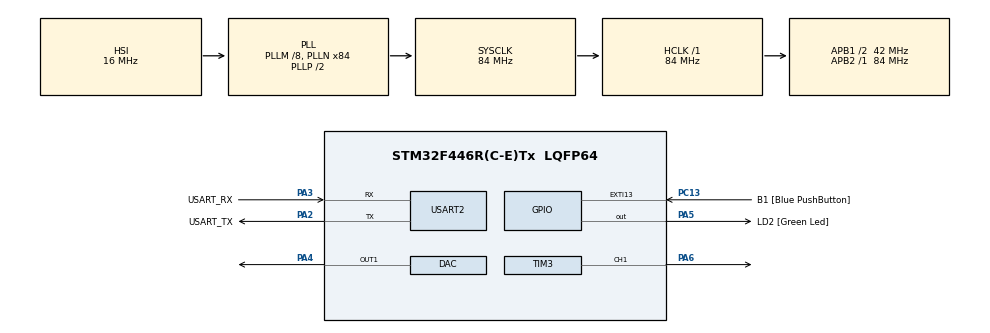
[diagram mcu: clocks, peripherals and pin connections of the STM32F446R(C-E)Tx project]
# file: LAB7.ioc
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DAC.DAC_Trigger=DAC_TRIGGER_T6_TRGO
Dma.DAC1.0.Direction=DMA_MEMORY_TO_PERIPH
Dma.DAC1.0.FIFOMode=DMA_FIFOMODE_DISABLE
Dma.DAC1.0.Instance=DMA1_Stream5
Dma.DAC1.0.MemDataAlignment=DMA_MDATAALIGN_HALFWORD
Dma.DAC1.0.MemInc=DMA_MINC_ENABLE
Dma.DAC1.0.Mode=DMA_CIRCULAR
Dma.DAC1.0.PeriphDataAlignment=DMA_PDATAALIGN_HALFWORD
Dma.DAC1.0.PeriphInc=DMA_PINC_DISABLE
Dma.DAC1.0.Priority=DMA_PRIORITY_LOW
Dma.Request0=DAC1
Mcu.Family=STM32F4
Mcu.Name=STM32F446R(C-E)Tx
Mcu.Package=LQFP64
NVIC.DMA1_Stream5_IRQn=true\:0\:0\:false\:false\:true\:false\:true\:true
NVIC.PriorityGroup=NVIC_PRIORITYGROUP_0
NVIC.TIM6_DAC_IRQn=true\:0\:0\:false\:false\:true\:true\:true\:true
NVIC.USART2_IRQn=true\:0\:0\:false\:false\:true\:true\:true\:true
PA13.GPIO_Label=TMS
PA13.Signal=SYS_JTMS-SWDIO
PA14.GPIO_Label=TCK
PA14.Signal=SYS_JTCK-SWCLK
PA2.GPIO_Label=USART_TX
PA2.Mode=Asynchronous
PA2.Signal=USART2_TX
PA3.GPIO_Label=USART_RX
PA3.Mode=Asynchronous
PA3.Signal=USART2_RX
PA4.Signal=COMP_DAC1_group
PA5.GPIO_Label=LD2 [Green Led]
PA5.Signal=GPIO_Output
PA6.Signal=S_TIM3_CH1
PB3.GPIO_Label=SWO
PB3.Signal=SYS_JTDO-SWO
PC13.GPIO_Label=B1 [Blue PushButton]
PC13.GPIO_ModeDefaultEXTI=GPIO_MODE_IT_FALLING
PC13.Signal=GPXTI13
PC14-OSC32_IN.Signal=RCC_OSC32_IN
PC15-OSC32_OUT.Signal=RCC_OSC32_OUT
PH0-OSC_IN.Signal=RCC_OSC_IN
PH1-OSC_OUT.Signal=RCC_OSC_OUT
ProjectManager.HeapSize=0x200
ProjectManager.StackSize=0x400
ProjectManager.TargetToolchain=STM32CubeIDE
RCC.AHBFreq_Value=84000000
RCC.APB1CLKDivider=RCC_HCLK_DIV2
RCC.APB1Freq_Value=42000000
RCC.APB1TimFreq_Value=84000000
RCC.APB2Freq_Value=84000000
RCC.APB2TimFreq_Value=84000000
RCC.CortexFreq_Value=84000000
RCC.FLatency-AdvancedSettings=FLASH_LATENCY_2
RCC.HCLKFreq_Value=84000000
RCC.HSE_VALUE=8000000
RCC.HSI_VALUE=16000000
RCC.LSE_VALUE=32768
RCC.PLLM=8
RCC.PLLN=84
RCC.SYSCLKFreq_VALUE=84000000
RCC.SYSCLKSource=RCC_SYSCLKSOURCE_PLLCLK
RCC.USBFreq_Value=84000000
RCC.VCOOutputFreq_Value=168000000
SH.COMP_DAC1_group.0=DAC_OUT1,DAC_OUT1
SH.S_TIM3_CH1.0=TIM3_CH1,PWM Generation1 CH1
TIM3.Channel-PWM\ Generation1\ CH1=TIM_CHANNEL_1
TIM3.Period=999
TIM3.Prescaler=83
TIM6.Period=1000-1
TIM6.Prescaler=1
TIM6.TIM_MasterOutputTrigger=TIM_TRGO_UPDATE
USART2.VirtualMode=VM_ASYNC
VP_TIM6_VS_ClockSourceINT.Mode=Enable_Timer
board=NUCLEO-F446RE

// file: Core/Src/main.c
/* USER CODE BEGIN Header */
/**
  ******************************************************************************
  * @file           : main.c
  * @brief          : Main program body
  ******************************************************************************
  * @attention
  *
  * Copyright (c) 2026 STMicroelectronics.
  * All rights reserved.
  *
  * This software is licensed under terms that can be found in the LICENSE file
  * in the root directory of this software component.
  * If no LICENSE file comes with this software, it is provided AS-IS.
  *
  ******************************************************************************
  */
/* USER CODE END Header */
#include "main.h"

/* USER CODE BEGIN Includes */
#include <stdio.h>
#include <string.h>
#include "sine_lut.h"           /* tabla senoidal 128 muestras */
#include "tetris.h"             /* canción para PWM (incluye notas.h) */
#include "seven_nation_army.h"  /* canción para DAC */
/* USER CODE END Includes */

/* USER CODE BEGIN PD */
#define FCLK_DAC    84000000   /* frecuencia del timer en Hz */
#define PSC_DAC     1          /* prescaler del TIM6 */
#define NS_DAC      128        /* muestras por período */
/* USER CODE END PD */

DAC_HandleTypeDef hdac;
DMA_HandleTypeDef hdma_dac1;

TIM_HandleTypeDef htim3;
TIM_HandleTypeDef htim6;

UART_HandleTypeDef huart2;

/* USER CODE BEGIN PV */
volatile uint8_t rxByte = 0;
volatile uint8_t flagComando = 0;
volatile uint8_t comando = 0;
/* USER CODE END PV */

void SystemClock_Config(void);
static void MX_GPIO_Init(void);
static void MX_DMA_Init(void);
static void MX_TIM3_Init(void);
static void MX_USART2_UART_Init(void);
static void MX_DAC_Init(void);
static void MX_TIM6_Init(void);

/* USER CODE BEGIN 0 */

/* ======== MÉTODO 1: PWM (buzzer) ======== */

void tocarNota(uint16_t freq, uint16_t duracion)
{
    if (freq == 0)
    {
        HAL_TIM_PWM_Stop(&htim3, TIM_CHANNEL_1);
    }
    else
    {
        /* Con prescaler=83 → tick = 1 MHz → ARR = 1000000/freq - 1 */
        uint32_t periodo = (1000000 / freq) - 1;
        __HAL_TIM_SET_AUTORELOAD(&htim3, periodo);
        __HAL_TIM_SET_COMPARE(&htim3, TIM_CHANNEL_1, periodo / 2);
        __HAL_TIM_SET_COUNTER(&htim3, 0);
        HAL_TIM_PWM_Start(&htim3, TIM_CHANNEL_1);
    }
    HAL_Delay((uint32_t)(duracion * 0.9));
    HAL_TIM_PWM_Stop(&htim3, TIM_CHANNEL_1);
    HAL_Delay((uint32_t)(duracion * 0.1));
}

void reproducirCancion(const uint16_t* notas, const uint16_t* duraciones, uint16_t cantidad)
{
    for (uint16_t i = 0; i < cantidad; i++)
    {
        tocarNota(notas[i], duraciones[i]);
    }
}

/* ======== MÉTODO 2: DAC + DMA (onda senoidal) ======== */

void tocarNotaDAC(uint16_t freq, uint16_t duracion)
{
    if (freq == 0)
    {
        HAL_DAC_Stop_DMA(&hdac, DAC_CHANNEL_1);
        HAL_TIM_Base_Stop(&htim6);
    }
    else
    {
        /* ARR = FCLK / ((PSC+1) × freq × Ns) - 1 */
        uint32_t arr = (FCLK_DAC / ((PSC_DAC + 1) * (uint32_t)freq * NS_DAC)) - 1;
        __HAL_TIM_SET_AUTORELOAD(&htim6, arr);
        __HAL_TIM_SET_COUNTER(&htim6, 0);
        HAL_TIM_Base_Start(&htim6);
        HAL_DAC_Start_DMA(&hdac, DAC_CHANNEL_1,
                          (uint32_t*)sineLUT, SINE_SAMPLES,
                          DAC_ALIGN_12B_R);
    }
    HAL_Delay((uint32_t)(duracion * 0.9));
    HAL_DAC_Stop_DMA(&hdac, DAC_CHANNEL_1);
    HAL_TIM_Base_Stop(&htim6);
    HAL_Delay((uint32_t)(duracion * 0.1));
}

void reproducirCancionDAC(const uint16_t* notas, const uint16_t* duraciones, uint16_t cantidad)
{
    for (uint16_t i = 0; i < cantidad; i++)
    {
        tocarNotaDAC(notas[i], duraciones[i]);
    }
}

/* ======== Menú UART ======== */

void mostrarMenu(void)
{
    char* menu =
        "\r\n"
        "=============================\r\n"
        "  REPRODUCTOR DE AUDIO\r\n"
        "=============================\r\n"
        "  1. Tetris (PWM - Buzzer)\r\n"
        "  2. Seven Nation Army (DAC)\r\n"
        "=============================\r\n"
        "  Seleccione una opcion: ";
    HAL_UART_Transmit(&huart2, (uint8_t*)menu, strlen(menu), HAL_MAX_DELAY);
}

/* USER CODE END 0 */

int main(void)
{

  /* MCU Configuration--------------------------------------------------------*/

  /* Reset of all peripherals, Initializes the Flash interface and the Systick. */
  HAL_Init();

  /* Configure the system clock */
  SystemClock_Config();

  /* Initialize all configured peripherals */
  MX_GPIO_Init();
  MX_DMA_Init();
  MX_TIM3_Init();
  MX_USART2_UART_Init();
  MX_DAC_Init();
  MX_TIM6_Init();
  /* USER CODE BEGIN 2 */
  HAL_UART_Receive_IT(&huart2, (uint8_t*)&rxByte, 1);
  mostrarMenu();
  /* USER CODE END 2 */

  /* Infinite loop */
  while (1)
  {

    /* USER CODE BEGIN 3 */
	   if (flagComando)
	    {
	        flagComando = 0;
	        char msg[64];

	        switch (comando)
	        {
	            case '1':
	                sprintf(msg, "\r\nReproduciendo: Tetris (PWM)...\r\n");
	                HAL_UART_Transmit(&huart2, (uint8_t*)msg, strlen(msg), HAL_MAX_DELAY);
	                reproducirCancion(tetris_notas, tetris_duraciones, TETRIS_LEN);
	                sprintf(msg, "Listo!\r\n");
	                HAL_UART_Transmit(&huart2, (uint8_t*)msg, strlen(msg), HAL_MAX_DELAY);
	                break;

	            case '2':
	                sprintf(msg, "\r\nReproduciendo: Seven Nation Army (DAC)...\r\n");
	                HAL_UART_Transmit(&huart2, (uint8_t*)msg, strlen(msg), HAL_MAX_DELAY);
	                reproducirCancionDAC(sna_notas, sna_duraciones, SNA_LEN);
	                sprintf(msg, "Listo!\r\n");
	                HAL_UART_Transmit(&huart2, (uint8_t*)msg, strlen(msg), HAL_MAX_DELAY);
	                break;

	            default:
	                sprintf(msg, "\r\nOpcion no valida.\r\n");
	                HAL_UART_Transmit(&huart2, (uint8_t*)msg, strlen(msg), HAL_MAX_DELAY);
	                break;
	        }
	        mostrarMenu();
	    }
  /* USER CODE END 3 */
}
}
void SystemClock_Config(void)
{
  RCC_OscInitTypeDef RCC_OscInitStruct = {0};
  RCC_ClkInitTypeDef RCC_ClkInitStruct = {0};

  /** Configure the main internal regulator output voltage
  */
  __HAL_RCC_PWR_CLK_ENABLE();
  __HAL_PWR_VOLTAGESCALING_CONFIG(PWR_REGULATOR_VOLTAGE_SCALE3);

  /** Initializes the RCC Oscillators according to the specified parameters
  * in the RCC_OscInitTypeDef structure.
  */
  RCC_OscInitStruct.OscillatorType = RCC_OSCILLATORTYPE_HSI;
  RCC_OscInitStruct.HSIState = RCC_HSI_ON;
  RCC_OscInitStruct.HSICalibrationValue = RCC_HSICALIBRATION_DEFAULT;
  RCC_OscInitStruct.PLL.PLLState = RCC_PLL_ON;
  RCC_OscInitStruct.PLL.PLLSource = RCC_PLLSOURCE_HSI;
  RCC_OscInitStruct.PLL.PLLM = 8;
  RCC_OscInitStruct.PLL.PLLN = 84;
  RCC_OscInitStruct.PLL.PLLP = RCC_PLLP_DIV2;
  RCC_OscInitStruct.PLL.PLLQ = 2;
  RCC_OscInitStruct.PLL.PLLR = 2;
  if (HAL_RCC_OscConfig(&RCC_OscInitStruct) != HAL_OK)
  {
    Error_Handler();
  }

  /** Initializes the CPU, AHB and APB buses clocks
  */
  RCC_ClkInitStruct.ClockType = RCC_CLOCKTYPE_HCLK|RCC_CLOCKTYPE_SYSCLK
                              |RCC_CLOCKTYPE_PCLK1|RCC_CLOCKTYPE_PCLK2;
  RCC_ClkInitStruct.SYSCLKSource = RCC_SYSCLKSOURCE_PLLCLK;
  RCC_ClkInitStruct.AHBCLKDivider = RCC_SYSCLK_DIV1;
  RCC_ClkInitStruct.APB1CLKDivider = RCC_HCLK_DIV2;
  RCC_ClkInitStruct.APB2CLKDivider = RCC_HCLK_DIV1;

  if (HAL_RCC_ClockConfig(&RCC_ClkInitStruct, FLASH_LATENCY_2) != HAL_OK)
  {
    Error_Handler();
  }
}

static void MX_DAC_Init(void)
{

  DAC_ChannelConfTypeDef sConfig = {0};

  /** DAC Initialization
  */
  hdac.Instance = DAC;
  if (HAL_DAC_Init(&hdac) != HAL_OK)
  {
    Error_Handler();
  }

  /** DAC channel OUT1 config
  */
  sConfig.DAC_Trigger = DAC_TRIGGER_T6_TRGO;
  sConfig.DAC_OutputBuffer = DAC_OUTPUTBUFFER_ENABLE;
  if (HAL_DAC_ConfigChannel(&hdac, &sConfig, DAC_CHANNEL_1) != HAL_OK)
  {
    Error_Handler();
  }

}

static void MX_TIM3_Init(void)
{

  TIM_MasterConfigTypeDef sMasterConfig = {0};
  TIM_OC_InitTypeDef sConfigOC = {0};

  htim3.Instance = TIM3;
  htim3.Init.Prescaler = 83;
  htim3.Init.CounterMode = TIM_COUNTERMODE_UP;
  htim3.Init.Period = 999;
  htim3.Init.ClockDivision = TIM_CLOCKDIVISION_DIV1;
  htim3.Init.AutoReloadPreload = TIM_AUTORELOAD_PRELOAD_DISABLE;
  if (HAL_TIM_PWM_Init(&htim3) != HAL_OK)
  {
    Error_Handler();
  }
  sMasterConfig.MasterOutputTrigger = TIM_TRGO_RESET;
  sMasterConfig.MasterSlaveMode = TIM_MASTERSLAVEMODE_DISABLE;
  if (HAL_TIMEx_MasterConfigSynchronization(&htim3, &sMasterConfig) != HAL_OK)
  {
    Error_Handler();
  }
  sConfigOC.OCMode = TIM_OCMODE_PWM1;
  sConfigOC.Pulse = 0;
  sConfigOC.OCPolarity = TIM_OCPOLARITY_HIGH;
  sConfigOC.OCFastMode = TIM_OCFAST_DISABLE;
  if (HAL_TIM_PWM_ConfigChannel(&htim3, &sConfigOC, TIM_CHANNEL_1) != HAL_OK)
  {
    Error_Handler();
  }
  HAL_TIM_MspPostInit(&htim3);

}

static void MX_TIM6_Init(void)
{

  TIM_MasterConfigTypeDef sMasterConfig = {0};

  htim6.Instance = TIM6;
  htim6.Init.Prescaler = 1;
  htim6.Init.CounterMode = TIM_COUNTERMODE_UP;
  htim6.Init.Period = 1000-1;
  htim6.Init.AutoReloadPreload = TIM_AUTORELOAD_PRELOAD_DISABLE;
  if (HAL_TIM_Base_Init(&htim6) != HAL_OK)
  {
    Error_Handler();
  }
  sMasterConfig.MasterOutputTrigger = TIM_TRGO_UPDATE;
  sMasterConfig.MasterSlaveMode = TIM_MASTERSLAVEMODE_DISABLE;
  if (HAL_TIMEx_MasterConfigSynchronization(&htim6, &sMasterConfig) != HAL_OK)
  {
    Error_Handler();
  }

}

static void MX_USART2_UART_Init(void)
{

  huart2.Instance = USART2;
  huart2.Init.BaudRate = 115200;
  huart2.Init.WordLength = UART_WORDLENGTH_8B;
  huart2.Init.StopBits = UART_STOPBITS_1;
  huart2.Init.Parity = UART_PARITY_NONE;
  huart2.Init.Mode = UART_MODE_TX_RX;
  huart2.Init.HwFlowCtl = UART_HWCONTROL_NONE;
  huart2.Init.OverSampling = UART_OVERSAMPLING_16;
  if (HAL_UART_Init(&huart2) != HAL_OK)
  {
    Error_Handler();
  }

}

static void MX_DMA_Init(void)
{

  /* DMA controller clock enable */
  __HAL_RCC_DMA1_CLK_ENABLE();

  /* DMA interrupt init */
  /* DMA1_Stream5_IRQn interrupt configuration */
  HAL_NVIC_SetPriority(DMA1_Stream5_IRQn, 0, 0);
  HAL_NVIC_EnableIRQ(DMA1_Stream5_IRQn);

}

static void MX_GPIO_Init(void)
{
  GPIO_InitTypeDef GPIO_InitStruct = {0};

  /* GPIO Ports Clock Enable */
  __HAL_RCC_GPIOC_CLK_ENABLE();
  __HAL_RCC_GPIOH_CLK_ENABLE();
  __HAL_RCC_GPIOA_CLK_ENABLE();
  __HAL_RCC_GPIOB_CLK_ENABLE();

  /*Configure GPIO pin Output Level */
  HAL_GPIO_WritePin(LD2_GPIO_Port, LD2_Pin, GPIO_PIN_RESET);

  /*Configure GPIO pin : B1_Pin */
  GPIO_InitStruct.Pin = B1_Pin;
  GPIO_InitStruct.Mode = GPIO_MODE_IT_FALLING;
  GPIO_InitStruct.Pull = GPIO_NOPULL;
  HAL_GPIO_Init(B1_GPIO_Port, &GPIO_InitStruct);

  /*Configure GPIO pin : LD2_Pin */
  GPIO_InitStruct.Pin = LD2_Pin;
  GPIO_InitStruct.Mode = GPIO_MODE_OUTPUT_PP;
  GPIO_InitStruct.Pull = GPIO_NOPULL;
  GPIO_InitStruct.Speed = GPIO_SPEED_FREQ_LOW;
  HAL_GPIO_Init(LD2_GPIO_Port, &GPIO_InitStruct);

}

/* USER CODE BEGIN 4 */
void HAL_UART_RxCpltCallback(UART_HandleTypeDef *huart)
{
    if (huart->Instance == USART2)
    {
        comando = rxByte;
        flagComando = 1;
        HAL_UART_Receive_IT(&huart2, (uint8_t*)&rxByte, 1);
    }
}
/* USER CODE END 4 */

void Error_Handler(void)
{
  __disable_irq();
  while (1)
  {
  }
}
